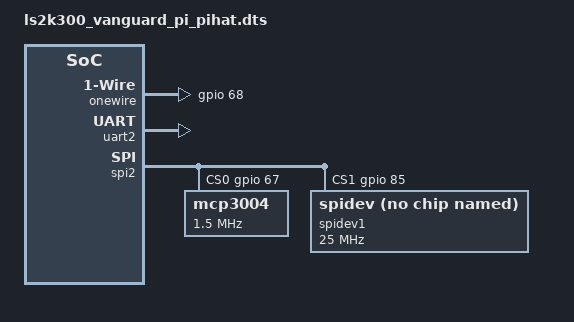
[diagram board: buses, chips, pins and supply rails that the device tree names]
#include <dt-bindings/gpio/gpio.h>
#include <dt-bindings/pwm/pwm.h>
#include <dt-bindings/input/linux-event-codes.h>
#include <dt-bindings/interrupt-controller/irq.h>

#include "ls2k300_vanguard_pi_common.dtsi"

/ {
	onewire {
		compatible = "w1-gpio";
		gpios = <&gpio 68 GPIO_ACTIVE_HIGH>;
	};
};

&uart2 {
	status = "ok";
};

&uart5 {
	status = "disabled";
};

&uart6 {
	status = "disabled";
};

&uart7 {
	status = "disabled";
};

&uart8 {
	status = "disabled";
};

&spi1 {
	status = "disabled";
};

&spi2 {
	status = "ok";
	pinctrl-0 = <&spi2_cs_as_gpio>;
	pinctrl-names = "default";
	num-chipselects = <2>;
	cs-gpios = <&gpio 67 0>,
			<&gpio 85 0>;

	mcp3004@0 {
		compatible = "mcp3004";
		reg = <0>;
		spi-max-frequency = <1500000>;
	};

	spidev1@1 {
		compatible = "rohm,dh2228fv";
		reg = <1>;
		spi-max-frequency = <25000000>;
	};
};

&can0 {
	status = "disabled";
};

&can1 {
	status = "disabled";
};

&can2 {
	status = "disabled";
};

&can3 {
	status = "disabled";
};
